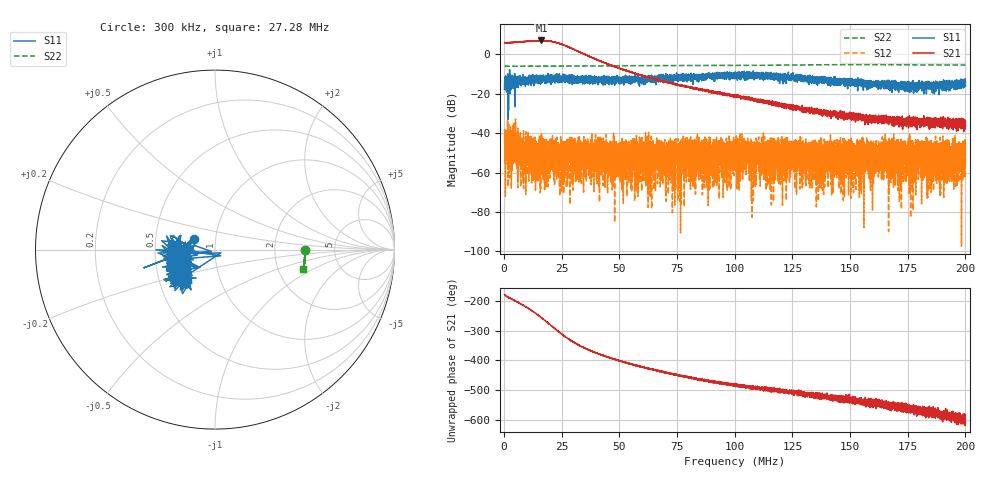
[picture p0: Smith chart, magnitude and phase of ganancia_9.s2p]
# Hz S DB R 50
! CMT, M5065, 19127446, 24.2.4/2
! Date: 11/8/2024 2:48:28 PM
! Data: Format (Calibration Info)
! Freq	S11:dB/Ang(F2)	S21:dB/Ang(F2)	S12:dB/Ang(F2)	S22:dB/Ang(F2)
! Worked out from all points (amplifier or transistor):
!   9000 points, 300 kHz to 200 MHz, reference 50 ohm
!   highest |S21| = 7.1 dB at 16.26 MHz (marker M1)
!   |S21| within 3 dB of that: start of sweep to 27.3 MHz (the widest 1 of 2)
!   unconditionally stable (mu >= 1): start of sweep to end of sweep
!   at 33.59 MHz: K = 73.35, MAG = 2.5 dB, |S12| = -47.4 dB
!   at 100.2 MHz: K = 1530.99, MAG = -19.2 dB, |S12| = -52.4 dB
!   at 200 MHz: K = 15664.49, MAG = -34.6 dB, |S12| = -56.9 dB
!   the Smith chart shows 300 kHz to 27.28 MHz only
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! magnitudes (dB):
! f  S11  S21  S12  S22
! 300 kHz  -17.5  6.0  -42.5  -6.0
! 2.63 MHz  -11.7  6.0  -40.7  -6.0
! 4.228 MHz  -14.5  6.1  -49.9  -6.0
! 8.821 MHz  -14.7  6.5  -60.9  -6.0
! 16.26 MHz  -11.5  7.1  -48.3  -6.0
! 33.59 MHz  -11.8  0.9  -47.4  -5.9
! 42.8 MHz  -13.2  -3.9  -51.3  -5.8
! 57.66 MHz  -12.6  -9.9  -44.1  -5.7
! 60.06 MHz  -10.9  -10.5  -47.1  -5.7
! 66.87 MHz  -10.8  -12.9  -44.7  -5.7
! 76.02 MHz  -11.0  -15.6  -50.7  -5.6
! 78.04 MHz  -11.9  -16.0  -47.7  -5.6
! 90.53 MHz  -9.8  -19.2  -45.0  -5.6
! 100.2 MHz  -9.9  -21.1  -52.4  -5.6
! 133.4 MHz  -12.3  -27.8  -45.5  -5.3
! 144.9 MHz  -15.6  -29.5  -48.4  -5.2
! 146.1 MHz  -14.0  -31.0  -47.3  -5.2
! 148.1 MHz  -14.2  -32.7  -49.6  -5.2
! 166.7 MHz  -17.7  -33.6  -51.0  -5.2
! 189.2 MHz  -15.8  -35.3  -48.8  -5.3
! 190.3 MHz  -17.4  -34.9  -45.6  -5.3
! 200 MHz  -16.0  -36.2  -56.9  -5.4
